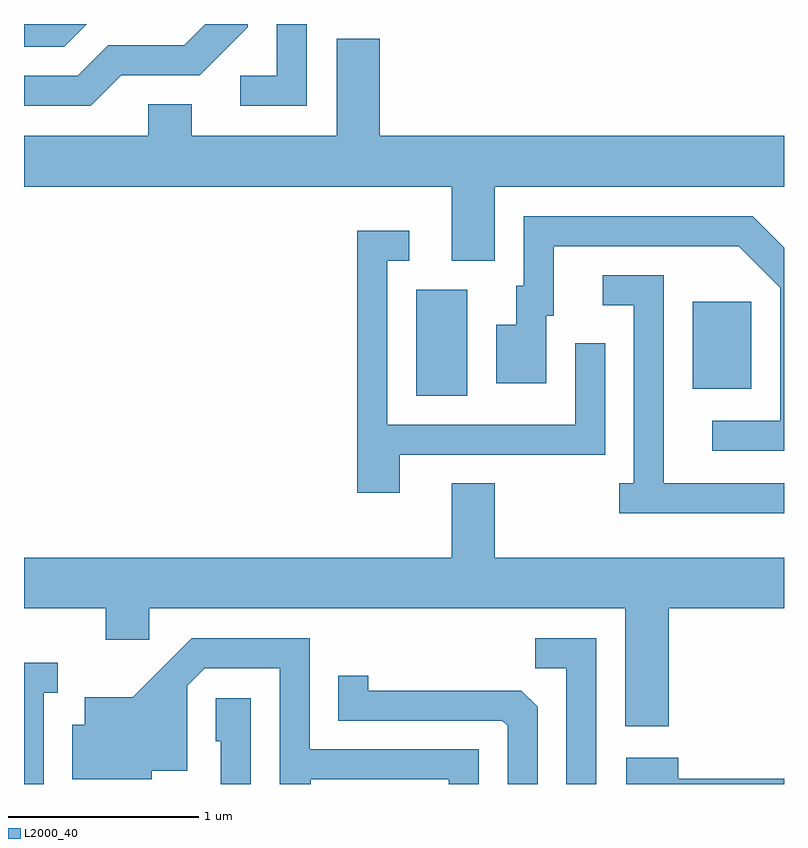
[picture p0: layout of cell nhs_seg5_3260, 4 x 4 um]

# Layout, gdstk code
import gdstk
lib = gdstk.Library(unit=1e-6, precision=1e-09)
def R(c, l, rs):  # rectangles x0, y0, x1, y1
    for r in rs: c.add(gdstk.rectangle(r[:2], r[2:], *l))
def P(c, l, *ps):  # polygons
    for p in ps: c.add(gdstk.Polygon(p, *l))
L2000_40 = (2000, 40)

nhs_seg5_3260 = lib.new_cell('nhs_seg5_3260')
R(nhs_seg5_3260, L2000_40, [(283.676,1480.116,283.944,1480.674), (285.131,1480.151,285.439,1480.609)])
P(nhs_seg5_3260, L2000_40, [(283.099,1482.072),(282.941,1482.072),(282.941,1481.799),(282.748,1481.799),(282.748,1481.641),(283.099,1481.641)],
  [(281.942,1482.072),(281.611,1482.072),(281.611,1481.951),(281.822,1481.951)],
  [(282.122,1481.801),(282.537,1481.801),(282.789,1482.054),(282.789,1482.072),(282.566,1482.072),(282.454,1481.959),(282.054,1481.959),(281.894,1481.799),(281.611,1481.799),(281.611,1481.641),(281.962,1481.641)],
  [(284.089,1481.216),(285.611,1481.216),(285.611,1481.484),(283.484,1481.484),(283.484,1481.994),(283.256,1481.994),(283.256,1481.484),(282.494,1481.484),(282.494,1481.649),(282.266,1481.649),(282.266,1481.484),(281.611,1481.484),(281.611,1481.216),(283.861,1481.216),(283.861,1480.826),(284.089,1480.826)],
  [(285.611,1480.895),(285.447,1481.059),(284.241,1481.059),(284.241,1480.694),(284.201,1480.694),(284.201,1480.489),(284.096,1480.489),(284.096,1480.181),(284.359,1480.181),(284.359,1480.536),(284.399,1480.536),(284.399,1480.901),(285.374,1480.901),(285.591,1480.684),(285.591,1479.984),(285.233,1479.984),(285.233,1479.826),(285.611,1479.826)],
  [(283.589,1479.806),(284.669,1479.806),(284.669,1480.393),(284.511,1480.393),(284.511,1479.964),(283.524,1479.964),(283.524,1480.826),(283.638,1480.826),(283.638,1480.984),(283.366,1480.984),(283.366,1479.606),(283.589,1479.606)],
  [(285.611,1479.654),(284.979,1479.654),(284.979,1480.749),(284.658,1480.749),(284.658,1480.591),(284.821,1480.591),(284.821,1479.654),(284.743,1479.654),(284.743,1479.496),(285.611,1479.496)],
  [(284.776,1478.376),(285.004,1478.376),(285.004,1478.996),(285.611,1478.996),(285.611,1479.264),(284.089,1479.264),(284.089,1479.654),(283.861,1479.654),(283.861,1479.264),(281.611,1479.264),(281.611,1478.996),(282.041,1478.996),(282.041,1478.831),(282.269,1478.831),(282.269,1478.996),(284.776,1478.996)],
  [(284.624,1478.839),(284.303,1478.839),(284.303,1478.681),(284.466,1478.681),(284.466,1478.072),(284.624,1478.072)],
  [(283.119,1478.096),(283.846,1478.096),(283.846,1478.072),(284.004,1478.072),(284.004,1478.254),(283.114,1478.254),(283.114,1478.839),(282.494,1478.839),(282.184,1478.529),(281.931,1478.529),(281.931,1478.384),(281.866,1478.384),(281.866,1478.096),(282.284,1478.096),(282.284,1478.141),(282.469,1478.141),(282.469,1478.589),(282.562,1478.681),(282.956,1478.681),(282.956,1478.072),(283.119,1478.072)],
  [(281.714,1478.551),(281.788,1478.551),(281.788,1478.709),(281.611,1478.709),(281.611,1478.072),(281.714,1478.072)],
  [(284.314,1478.479),(284.229,1478.564),(283.424,1478.564),(283.424,1478.643),(283.266,1478.643),(283.266,1478.406),(284.129,1478.406),(284.156,1478.379),(284.156,1478.072),(284.314,1478.072)],
  [(282.804,1478.524),(282.621,1478.524),(282.621,1478.296),(282.646,1478.296),(282.646,1478.072),(282.804,1478.072)],
  [(285.611,1478.099),(285.054,1478.099),(285.054,1478.209),(284.781,1478.209),(284.781,1478.072),(285.611,1478.072)])

lib.write_gds('nhs_seg5_3260.gds')
